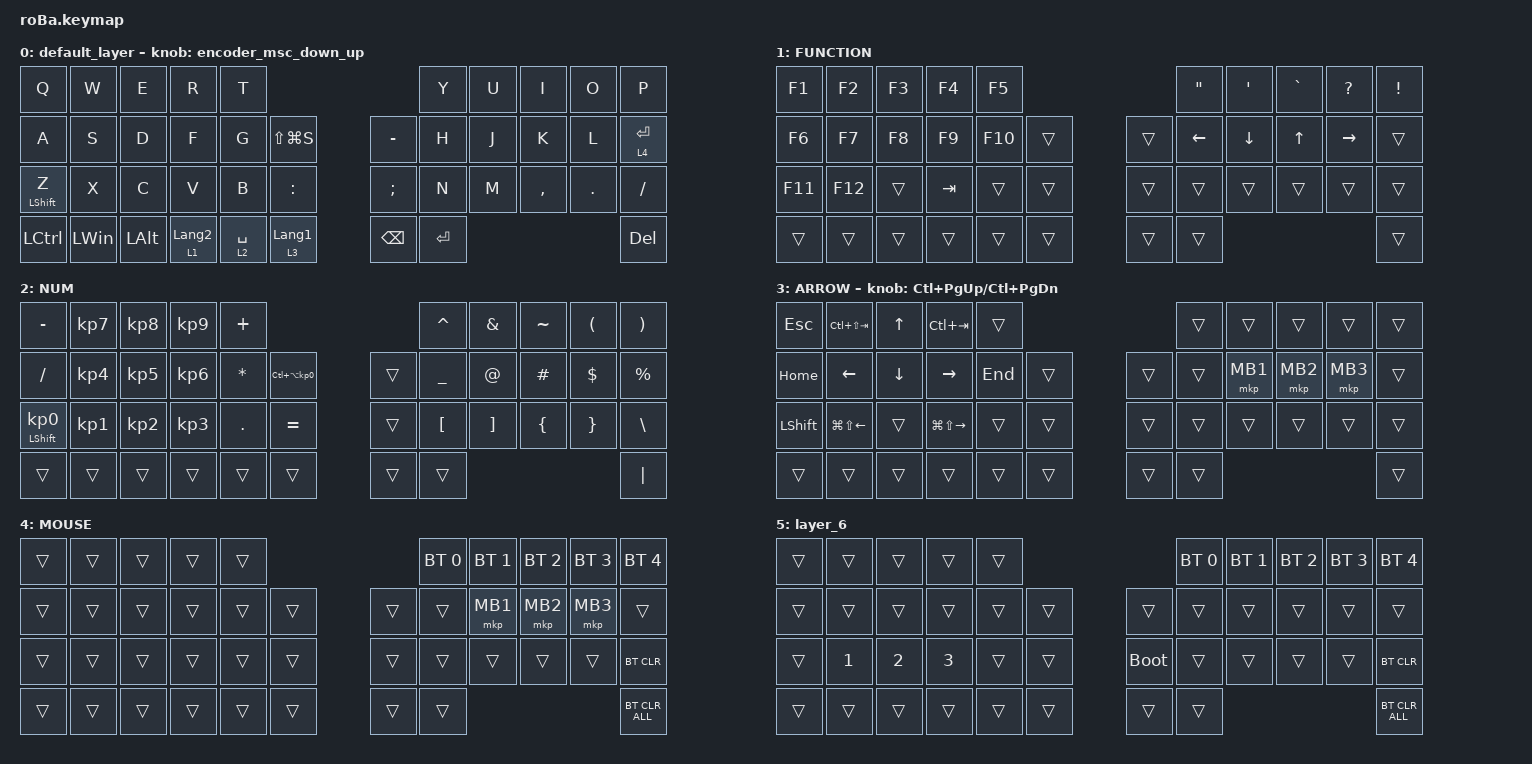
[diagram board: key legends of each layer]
#include <behaviors.dtsi>
#include <dt-bindings/zmk/bt.h>
#include <dt-bindings/zmk/keys.h>
#include <dt-bindings/zmk/pointing.h>

#define ZMK_POINTING_DEFAULT_SCRL_VAL 100

&mt {
    flavor = "balanced";
    quick-tap-ms = <0>;
};

&trackball {
    automouse-layer = <4>;
    scroll-layers = <5>;

    // arrows {
    //     layers = <3>;
    //     bindings =
    //         <&kp RIGHT_ARROW>,
    //         <&kp LEFT_ARROW>,
    //         <&kp UP_ARROW>,
    //         <&kp DOWN_ARROW>;
    //     tick = <10>;
    //     wait-ms = <5>;
    //     tap-ms = <5>;
    // };
};

/ {
    combos {
        compatible = "zmk,combos";

        tab {
            bindings = <&kp TAB>;
            key-positions = <11 12>;
        };

        shift_tab {
            bindings = <&kp LS(TAB)>;
            key-positions = <12 13>;
        };

        muhennkann {
            bindings = <&to_layer_0 INT_MUHENKAN>;
            key-positions = <11 10>;
        };

        double_quotation {
            bindings = <&kp DOUBLE_QUOTES>;
            key-positions = <20 21>;
        };

        eq {
            bindings = <&kp EQUAL>;
            key-positions = <24 25>;
        };

        vim_left {
            bindings = <&kp LEFT_ARROW>;
            key-positions = <27 17>;
        };

        vim_down {
            bindings = <&kp DOWN_ARROW>;
            key-positions = <27 18>;
        };

        vim_up {
            bindings = <&kp UP_ARROW>;
            key-positions = <27 19>;
        };

        vim_right {
            bindings = <&kp RIGHT_ARROW>;
            key-positions = <27 20>;
        };

        click_left {
            bindings = <&mkp LCLK>;
            key-positions = <41 18>;
        };

        click_right {
            bindings = <&mkp RCLK>;
            key-positions = <41 19>;
        };
    };

    macros {
        to_layer_0: to_layer_0 {
            compatible = "zmk,behavior-macro-one-param";
            #binding-cells = <1>;
            bindings = <&to 0 &macro_param_1to1 &kp MACRO_PLACEHOLDER>;
            label = "TO_LAYER_0";
        };
    };

    behaviors {
        lt_to_layer_0: lt_to_layer_0 {
            compatible = "zmk,behavior-hold-tap";
            label = "LAYER_TAP_TO_0";
            bindings = <&mo>, <&to_layer_0>;

            #binding-cells = <2>;
            tapping-term-ms = <200>;
        };

        encoder_msc_down_up: encoder_msc_down_up {
            compatible = "zmk,behavior-sensor-rotate";
            label = "ENCODER_MSC_DOWN_UP";
            #sensor-binding-cells = <0>;
            bindings = <&msc SCRL_DOWN>, <&msc SCRL_UP>;

            tap-ms = <20>;
        };
    };

    keymap {
        compatible = "zmk,keymap";

        default_layer {
            bindings = <
&kp Q             &kp W         &kp E         &kp R             &kp T                                                        &kp Y      &kp U  &kp I      &kp O    &kp P
&kp A             &kp S         &kp D         &kp F             &kp G        &kp LS(LG(S))                    &kp MINUS      &kp H      &kp J  &kp K      &kp L    &lt_to_layer_0 4 ENTER
&mt LEFT_SHIFT Z  &kp X         &kp C         &kp V             &kp B        &kp COLON                        &kp SEMICOLON  &kp N      &kp M  &kp COMMA  &kp DOT  &kp SLASH
&kp LCTRL         &kp LEFT_WIN  &kp LEFT_ALT  &lt 1 LANGUAGE_2  &lt 2 SPACE  &lt_to_layer_0 3 LANGUAGE_1      &kp BACKSPACE  &kp ENTER                             &kp DEL
            >;

            // sensor-bindings = <&inc_dec_kp PG_UP PAGE_DOWN>;

            sensor-bindings = <&encoder_msc_down_up>;
        };

        FUNCTION {
            bindings = <
&kp F1   &kp F2   &kp F3  &kp F4   &kp F5                       &kp DOUBLE_QUOTES  &kp SINGLE_QUOTE  &kp GRAVE     &kp QUESTION     &kp EXCL
&kp F6   &kp F7   &kp F8  &kp F9   &kp F10  &trans      &trans  &kp LEFT_ARROW     &kp DOWN_ARROW    &kp UP_ARROW  &kp RIGHT_ARROW  &trans
&kp F11  &kp F12  &trans  &kp TAB  &trans   &trans      &trans  &trans             &trans            &trans        &trans           &trans
&trans   &trans   &trans  &trans   &trans   &trans      &trans  &trans                                                              &trans
            >;
        };

        NUM {
            bindings = <
&kp MINUS                   &kp KP_NUMBER_7  &kp KP_NUMBER_8  &kp KP_NUMBER_9  &kp PLUS                                           &kp CARET         &kp AMPERSAND      &kp TILDE       &kp LEFT_PARENTHESIS  &kp RIGHT_PARENTHESIS
&kp SLASH                   &kp KP_NUMBER_4  &kp KP_NUMBER_5  &kp KP_NUMBER_6  &kp ASTERISK  &kp LC(LA(KP_NUMBER_0))      &trans  &kp UNDER         &kp AT_SIGN        &kp HASH        &kp DOLLAR            &kp PERCENT
&mt LEFT_SHIFT KP_NUMBER_0  &kp KP_NUMBER_1  &kp KP_NUMBER_2  &kp KP_NUMBER_3  &kp PERIOD    &kp EQUAL                    &trans  &kp LEFT_BRACKET  &kp RIGHT_BRACKET  &kp LEFT_BRACE  &kp RIGHT_BRACE       &kp BACKSLASH
&trans                      &trans           &trans           &trans           &trans        &trans                       &trans  &trans                                                                     &kp PIPE
            >;
        };

        ARROW {
            bindings = <
&kp ESCAPE      &kp LC(LS(TAB))         &kp UP_ARROW    &kp LC(TAB)              &trans                       &trans  &trans    &trans    &trans    &trans
&kp HOME        &kp LEFT_ARROW          &kp DOWN_ARROW  &kp RIGHT_ARROW          &kp END  &trans      &trans  &trans  &mkp MB1  &mkp MB2  &mkp MB3  &trans
&kp LEFT_SHIFT  &kp LG(LS(LEFT_ARROW))  &trans          &kp LG(LS(RIGHT_ARROW))  &trans   &trans      &trans  &trans  &trans    &trans    &trans    &trans
&trans          &trans                  &trans          &trans                   &trans   &trans      &trans  &trans                                &trans
            >;

            sensor-bindings = <&inc_dec_kp LC(PAGE_UP) LC(PAGE_DOWN)>;
        };

        MOUSE {
            bindings = <
&trans  &trans  &trans  &trans  &trans                      &bt BT_SEL 0  &bt BT_SEL 1  &bt BT_SEL 2  &bt BT_SEL 3  &bt BT_SEL 4
&trans  &trans  &trans  &trans  &trans  &trans      &trans  &trans        &mkp MB1      &mkp MB2      &mkp MB3      &trans
&trans  &trans  &trans  &trans  &trans  &trans      &trans  &trans        &trans        &trans        &trans        &bt BT_CLR
&trans  &trans  &trans  &trans  &trans  &trans      &trans  &trans                                                  &bt BT_CLR_ALL
            >;
        };

        layer_6 {
            bindings = <
&trans  &trans        &trans        &trans        &trans                           &bt BT_SEL 0  &bt BT_SEL 1  &bt BT_SEL 2  &bt BT_SEL 3  &bt BT_SEL 4
&trans  &trans        &trans        &trans        &trans  &trans      &trans       &trans        &trans        &trans        &trans        &trans
&trans  &kp NUMBER_1  &kp NUMBER_2  &kp NUMBER_3  &trans  &trans      &bootloader  &trans        &trans        &trans        &trans        &bt BT_CLR
&trans  &trans        &trans        &trans        &trans  &trans      &trans       &trans                                                  &bt BT_CLR_ALL
            >;
        };
    };
};
